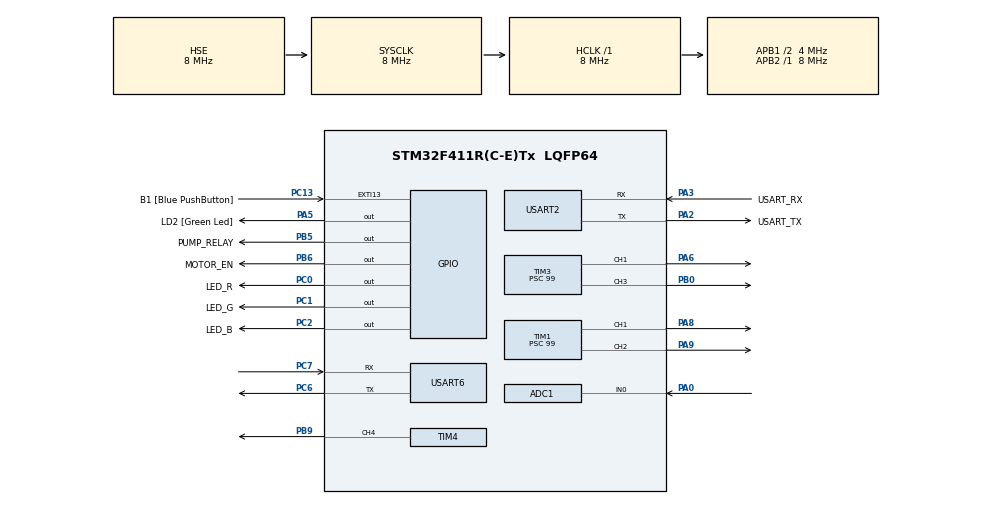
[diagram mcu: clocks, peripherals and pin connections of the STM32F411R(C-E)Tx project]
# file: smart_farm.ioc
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ADC1.Channel-0\#ChannelRegularConversion=ADC_CHANNEL_0
ADC1.ContinuousConvMode=ENABLE
ADC1.NbrOfConversionFlag=1
ADC1.Rank-0\#ChannelRegularConversion=1
ADC1.SamplingTime-0\#ChannelRegularConversion=ADC_SAMPLETIME_3CYCLES
ADC1.master=1
Dma.ADC1.0.Direction=DMA_PERIPH_TO_MEMORY
Dma.ADC1.0.FIFOMode=DMA_FIFOMODE_DISABLE
Dma.ADC1.0.Instance=DMA2_Stream0
Dma.ADC1.0.MemDataAlignment=DMA_MDATAALIGN_HALFWORD
Dma.ADC1.0.MemInc=DMA_MINC_ENABLE
Dma.ADC1.0.Mode=DMA_CIRCULAR
Dma.ADC1.0.PeriphDataAlignment=DMA_PDATAALIGN_HALFWORD
Dma.ADC1.0.PeriphInc=DMA_PINC_DISABLE
Dma.ADC1.0.Priority=DMA_PRIORITY_LOW
Dma.Request0=ADC1
FREERTOS.Queues01=xCommandQueue,16,uint8_t,0,Dynamic,NULL,NULL;xSensorQueue,16,uint8_t,0,Dynamic,NULL,NULL
FREERTOS.Tasks01=defaultTask,24,128,StartDefaultTask,Default,NULL,Dynamic,NULL,NULL;BT_Task,40,256,StartTask02,Default,NULL,Dynamic,NULL,NULL;Sensor_Task,24,128,StartTask03,Default,NULL,Dynamic,NULL,NULL;Actuator_Task,8,256,StartTask04,Default,NULL,Dynamic,NULL,NULL
Mcu.Family=STM32F4
Mcu.Name=STM32F411R(C-E)Tx
Mcu.Package=LQFP64
NVIC.DMA2_Stream0_IRQn=true\:5\:0\:false\:false\:true\:true\:false\:true\:true
NVIC.PriorityGroup=NVIC_PRIORITYGROUP_4
NVIC.USART6_IRQn=true\:5\:0\:false\:false\:true\:true\:true\:true\:true
PA0-WKUP.Signal=ADCx_IN0
PA13.GPIO_Label=TMS
PA13.Mode=Serial_Wire
PA13.Signal=SYS_JTMS-SWDIO
PA14.GPIO_Label=TCK
PA14.Mode=Serial_Wire
PA14.Signal=SYS_JTCK-SWCLK
PA2.GPIO_Label=USART_TX
PA2.Mode=Asynchronous
PA2.Signal=USART2_TX
PA3.GPIO_Label=USART_RX
PA3.Mode=Asynchronous
PA3.Signal=USART2_RX
PA5.GPIO_Label=LD2 [Green Led]
PA5.Signal=GPIO_Output
PA6.Signal=S_TIM3_CH1
PA8.Signal=S_TIM1_CH1
PA9.Signal=S_TIM1_CH2
PB0.Signal=S_TIM3_CH3
PB3.GPIO_Label=SWO
PB3.Signal=SYS_JTDO-SWO
PB5.GPIO_Label=PUMP_RELAY
PB5.Signal=GPIO_Output
PB6.GPIO_Label=MOTOR_EN
PB6.Signal=GPIO_Output
PB9.Signal=S_TIM4_CH4
PC0.GPIO_Label=LED_R
PC0.Signal=GPIO_Output
PC1.GPIO_Label=LED_G
PC1.Signal=GPIO_Output
PC13-ANTI_TAMP.GPIO_Label=B1 [Blue PushButton]
PC13-ANTI_TAMP.GPIO_ModeDefaultEXTI=GPIO_MODE_IT_FALLING
PC13-ANTI_TAMP.Signal=GPXTI13
PC14-OSC32_IN.Mode=LSE-External-Oscillator
PC14-OSC32_IN.Signal=RCC_OSC32_IN
PC15-OSC32_OUT.Mode=LSE-External-Oscillator
PC15-OSC32_OUT.Signal=RCC_OSC32_OUT
PC2.GPIO_Label=LED_B
PC2.Signal=GPIO_Output
PC6.Mode=Asynchronous
PC6.Signal=USART6_TX
PC7.Mode=Asynchronous
PC7.Signal=USART6_RX
PH0\ -\ OSC_IN.Mode=HSE-External-Oscillator
PH0\ -\ OSC_IN.Signal=RCC_OSC_IN
PH1\ -\ OSC_OUT.Mode=HSE-External-Oscillator
PH1\ -\ OSC_OUT.Signal=RCC_OSC_OUT
ProjectManager.HeapSize=0x200
ProjectManager.StackSize=0x400
ProjectManager.TargetToolchain=STM32CubeIDE
RCC.48MHZClocksFreq_Value=25000000
RCC.AHBFreq_Value=8000000
RCC.APB1CLKDivider=RCC_HCLK_DIV2
RCC.APB1Freq_Value=4000000
RCC.APB1TimFreq_Value=8000000
RCC.APB2Freq_Value=8000000
RCC.APB2TimFreq_Value=8000000
RCC.CortexFreq_Value=8000000
RCC.FLatency-AdvancedSettings=FLASH_LATENCY_0
RCC.HCLKFreq_Value=8000000
RCC.HSE_VALUE=8000000
RCC.HSI_VALUE=16000000
RCC.PLLM=8
RCC.PLLN=100
RCC.PLLSourceVirtual=RCC_PLLSOURCE_HSE
RCC.SYSCLKFreq_VALUE=8000000
RCC.SYSCLKSource=RCC_SYSCLKSOURCE_HSE
RCC.VCOOutputFreq_Value=100000000
SH.ADCx_IN0.0=ADC1_IN0,IN0
SH.S_TIM1_CH1.0=TIM1_CH1,PWM Generation1 CH1
SH.S_TIM1_CH2.0=TIM1_CH2,PWM Generation2 CH2
SH.S_TIM3_CH1.0=TIM3_CH1,PWM Generation1 CH1
SH.S_TIM3_CH3.0=TIM3_CH3,PWM Generation3 CH3
SH.S_TIM4_CH4.0=TIM4_CH4,PWM Generation4 CH4
TIM1.Channel-PWM\ Generation1\ CH1=TIM_CHANNEL_1
TIM1.Channel-PWM\ Generation2\ CH2=TIM_CHANNEL_2
TIM1.Prescaler=99
TIM3.Channel-PWM\ Generation1\ CH1=TIM_CHANNEL_1
TIM3.Channel-PWM\ Generation3\ CH3=TIM_CHANNEL_3
TIM3.Period=999
TIM3.Prescaler=99
TIM4.Channel-PWM\ Generation4\ CH4=TIM_CHANNEL_4
TIM4.Period=999
TIM4.Prescaler=99
USART2.VirtualMode=VM_ASYNC
USART6.VirtualMode=VM_ASYNC
VP_FREERTOS_VS_CMSIS_V2.Mode=CMSIS_V2
VP_TIM1_VS_ClockSourceINT.Mode=Internal
VP_TIM4_VS_ClockSourceINT.Mode=Internal
board=NUCLEO-F411RE

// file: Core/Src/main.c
/* USER CODE BEGIN Header */
/**
  ******************************************************************************
  * @file           : main.c
  * @brief          : Main program body
  ******************************************************************************
  */
/* USER CODE END Header */
#include "main.h"
#include "cmsis_os.h"

/* USER CODE BEGIN Includes */
#include <string.h>
#include <stdio.h>
/* USER CODE END Includes */

ADC_HandleTypeDef hadc1;
DMA_HandleTypeDef hdma_adc1;

TIM_HandleTypeDef htim1;
TIM_HandleTypeDef htim3;
TIM_HandleTypeDef htim4;

UART_HandleTypeDef huart2;
UART_HandleTypeDef huart6;

/* Definitions for defaultTask */
osThreadId_t defaultTaskHandle;
const osThreadAttr_t defaultTask_attributes = {
  .name = "defaultTask",
  .stack_size = 128 * 4,
  .priority = (osPriority_t) osPriorityNormal,
};
/* Definitions for BT_Task */
osThreadId_t BT_TaskHandle;
const osThreadAttr_t BT_Task_attributes = {
  .name = "BT_Task",
  .stack_size = 256 * 4,
  .priority = (osPriority_t) osPriorityHigh,
};
/* Definitions for Sensor_Task */
osThreadId_t Sensor_TaskHandle;
const osThreadAttr_t Sensor_Task_attributes = {
  .name = "Sensor_Task",
  .stack_size = 128 * 4,
  .priority = (osPriority_t) osPriorityNormal,
};
/* Definitions for Actuator_Task */
osThreadId_t Actuator_TaskHandle;
const osThreadAttr_t Actuator_Task_attributes = {
  .name = "Actuator_Task",
  .stack_size = 256 * 4,
  .priority = (osPriority_t) osPriorityLow,
};
/* Definitions for xCommandQueue */
osMessageQueueId_t xCommandQueueHandle;
const osMessageQueueAttr_t xCommandQueue_attributes = {
  .name = "xCommandQueue"
};
/* Definitions for xSensorQueue */
osMessageQueueId_t xSensorQueueHandle;
const osMessageQueueAttr_t xSensorQueue_attributes = {
  .name = "xSensorQueue"
};
/* USER CODE BEGIN PV */
static uint8_t          bt_rx_byte;
static uint8_t          bt_buf[128];
static uint8_t          bt_proc_buf[128]; /* 처리용 별도 버퍼 */
static uint16_t         bt_len   = 0;
static volatile uint8_t bt_ready = 0;

/* 액추에이터 상태 전역 (led_str 배열 전역으로) */
static const char *led_str[4] = {"OFF","R","G","B"};
/* USER CODE END PV */

void SystemClock_Config(void);
static void MX_GPIO_Init(void);
static void MX_DMA_Init(void);
static void MX_ADC1_Init(void);
static void MX_USART2_UART_Init(void);
static void MX_USART6_UART_Init(void);
static void MX_TIM1_Init(void);
static void MX_TIM4_Init(void);
static void MX_TIM3_Init(void);
void StartDefaultTask(void *argument);
void StartTask02(void *argument);
void StartTask03(void *argument);
void StartTask04(void *argument);

/* USER CODE BEGIN 0 */

/* 디버그 출력 (USART2 → ST-Link → PC) */
static void dbg(const char *msg)
{
    HAL_UART_Transmit(&huart2, (uint8_t*)msg, strlen(msg), 100);
}

/* USART6 인터럽트 콜백 — HC-06 BT 수신 */
void HAL_UART_RxCpltCallback(UART_HandleTypeDef *huart)
{
    if (huart->Instance != USART6) return;

    if (bt_rx_byte == '\n' || bt_len >= 126) {
        bt_buf[bt_len] = '\0';
        bt_len   = 0;
        bt_ready = 1;   /* 수신 완료 플래그 */
    } else if (bt_rx_byte != '\r') {
        bt_buf[bt_len++] = bt_rx_byte;
    }
    HAL_UART_Receive_IT(&huart6, &bt_rx_byte, 1);
}

/* USER CODE END 0 */

int main(void)
{

  /* MCU Configuration--------------------------------------------------------*/

  /* Reset of all peripherals, Initializes the Flash interface and the Systick. */
  HAL_Init();

  /* Configure the system clock */
  SystemClock_Config();

  /* Initialize all configured peripherals */
  MX_GPIO_Init();
  MX_DMA_Init();
  MX_ADC1_Init();
  MX_USART2_UART_Init();
  MX_USART6_UART_Init();
  MX_TIM1_Init();
  MX_TIM4_Init();
  MX_TIM3_Init();
  /* USER CODE BEGIN 2 */

  /* PWM 시작 */
  HAL_TIM_PWM_Start(&htim1, TIM_CHANNEL_1);
  HAL_TIM_PWM_Start(&htim1, TIM_CHANNEL_2);
  HAL_TIM_PWM_Start(&htim3, TIM_CHANNEL_1);
  HAL_TIM_PWM_Start(&htim4, TIM_CHANNEL_4);
  HAL_TIM_PWM_Start(&htim3, TIM_CHANNEL_3);

  /* TIM1 Advanced Timer MOE 활성화 — 없으면 PWM 출력 안 됨 */
  __HAL_TIM_MOE_ENABLE(&htim1);

  /* USART6 인터럽트 우선순위 (FreeRTOS 범위 내: 5~15) */
//  HAL_NVIC_SetPriority(USART6_IRQn, 5, 0);
//  HAL_NVIC_EnableIRQ(USART6_IRQn);

  /* 초기 LED: 초록 (정상) */
  HAL_GPIO_WritePin(GPIOC, LED_R_Pin|LED_B_Pin, GPIO_PIN_RESET);
  HAL_GPIO_WritePin(GPIOC, LED_G_Pin,           GPIO_PIN_SET);

  /* HC-06 BT 수신 인터럽트 시작 */
  HAL_UART_Receive_IT(&huart6, &bt_rx_byte, 1);

  dbg("=== SmartFarm STM32 Start ===\r\n");

  /* USER CODE END 2 */

  /* Init scheduler */
  osKernelInitialize();

  /* Create the queue(s) */
  /* creation of xCommandQueue */
  xCommandQueueHandle = osMessageQueueNew (16, sizeof(uint8_t), &xCommandQueue_attributes);

  /* creation of xSensorQueue */
  xSensorQueueHandle = osMessageQueueNew (16, sizeof(uint8_t), &xSensorQueue_attributes);

  /* Create the thread(s) */
  /* creation of defaultTask */
  defaultTaskHandle = osThreadNew(StartDefaultTask, NULL, &defaultTask_attributes);

  /* creation of BT_Task */
  BT_TaskHandle = osThreadNew(StartTask02, NULL, &BT_Task_attributes);

  /* creation of Sensor_Task */
  Sensor_TaskHandle = osThreadNew(StartTask03, NULL, &Sensor_Task_attributes);

  /* creation of Actuator_Task */
  Actuator_TaskHandle = osThreadNew(StartTask04, NULL, &Actuator_Task_attributes);

  /* Start scheduler */
  osKernelStart();

  /* We should never get here as control is now taken by the scheduler */

  /* Infinite loop */
  while (1)
  {

  }
}

void SystemClock_Config(void)
{
  RCC_OscInitTypeDef RCC_OscInitStruct = {0};
  RCC_ClkInitTypeDef RCC_ClkInitStruct = {0};

  /** Configure the main internal regulator output voltage
  */
  __HAL_RCC_PWR_CLK_ENABLE();
  __HAL_PWR_VOLTAGESCALING_CONFIG(PWR_REGULATOR_VOLTAGE_SCALE1);

  /** Initializes the RCC Oscillators according to the specified parameters
  * in the RCC_OscInitTypeDef structure.
  */
  RCC_OscInitStruct.OscillatorType = RCC_OSCILLATORTYPE_HSE;
  RCC_OscInitStruct.HSEState = RCC_HSE_ON;
  RCC_OscInitStruct.PLL.PLLState = RCC_PLL_NONE;
  if (HAL_RCC_OscConfig(&RCC_OscInitStruct) != HAL_OK)
  {
    Error_Handler();
  }

  /** Initializes the CPU, AHB and APB buses clocks
  */
  RCC_ClkInitStruct.ClockType = RCC_CLOCKTYPE_HCLK|RCC_CLOCKTYPE_SYSCLK
                              |RCC_CLOCKTYPE_PCLK1|RCC_CLOCKTYPE_PCLK2;
  RCC_ClkInitStruct.SYSCLKSource = RCC_SYSCLKSOURCE_HSE;
  RCC_ClkInitStruct.AHBCLKDivider = RCC_SYSCLK_DIV1;
  RCC_ClkInitStruct.APB1CLKDivider = RCC_HCLK_DIV2;
  RCC_ClkInitStruct.APB2CLKDivider = RCC_HCLK_DIV1;

  if (HAL_RCC_ClockConfig(&RCC_ClkInitStruct, FLASH_LATENCY_0) != HAL_OK)
  {
    Error_Handler();
  }
}

static void MX_ADC1_Init(void)
{

  ADC_ChannelConfTypeDef sConfig = {0};

  /** Configure the global features of the ADC (Clock, Resolution, Data Alignment and number of conversion)
  */
  hadc1.Instance = ADC1;
  hadc1.Init.ClockPrescaler = ADC_CLOCK_SYNC_PCLK_DIV2;
  hadc1.Init.Resolution = ADC_RESOLUTION_12B;
  hadc1.Init.ScanConvMode = DISABLE;
  hadc1.Init.ContinuousConvMode = ENABLE;
  hadc1.Init.DiscontinuousConvMode = DISABLE;
  hadc1.Init.ExternalTrigConvEdge = ADC_EXTERNALTRIGCONVEDGE_NONE;
  hadc1.Init.ExternalTrigConv = ADC_SOFTWARE_START;
  hadc1.Init.DataAlign = ADC_DATAALIGN_RIGHT;
  hadc1.Init.NbrOfConversion = 1;
  hadc1.Init.DMAContinuousRequests = DISABLE;
  hadc1.Init.EOCSelection = ADC_EOC_SINGLE_CONV;
  if (HAL_ADC_Init(&hadc1) != HAL_OK)
  {
    Error_Handler();
  }

  /** Configure for the selected ADC regular channel its corresponding rank in the sequencer and its sample time.
  */
  sConfig.Channel = ADC_CHANNEL_0;
  sConfig.Rank = 1;
  sConfig.SamplingTime = ADC_SAMPLETIME_3CYCLES;
  if (HAL_ADC_ConfigChannel(&hadc1, &sConfig) != HAL_OK)
  {
    Error_Handler();
  }

}

static void MX_TIM1_Init(void)
{

  TIM_ClockConfigTypeDef sClockSourceConfig = {0};
  TIM_MasterConfigTypeDef sMasterConfig = {0};
  TIM_OC_InitTypeDef sConfigOC = {0};
  TIM_BreakDeadTimeConfigTypeDef sBreakDeadTimeConfig = {0};

  htim1.Instance = TIM1;
  htim1.Init.Prescaler = 99;
  htim1.Init.CounterMode = TIM_COUNTERMODE_UP;
  htim1.Init.Period = 65535;
  htim1.Init.ClockDivision = TIM_CLOCKDIVISION_DIV1;
  htim1.Init.RepetitionCounter = 0;
  htim1.Init.AutoReloadPreload = TIM_AUTORELOAD_PRELOAD_DISABLE;
  if (HAL_TIM_Base_Init(&htim1) != HAL_OK)
  {
    Error_Handler();
  }
  sClockSourceConfig.ClockSource = TIM_CLOCKSOURCE_INTERNAL;
  if (HAL_TIM_ConfigClockSource(&htim1, &sClockSourceConfig) != HAL_OK)
  {
    Error_Handler();
  }
  if (HAL_TIM_PWM_Init(&htim1) != HAL_OK)
  {
    Error_Handler();
  }
  sMasterConfig.MasterOutputTrigger = TIM_TRGO_RESET;
  sMasterConfig.MasterSlaveMode = TIM_MASTERSLAVEMODE_DISABLE;
  if (HAL_TIMEx_MasterConfigSynchronization(&htim1, &sMasterConfig) != HAL_OK)
  {
    Error_Handler();
  }
  sConfigOC.OCMode = TIM_OCMODE_PWM1;
  sConfigOC.Pulse = 0;
  sConfigOC.OCPolarity = TIM_OCPOLARITY_HIGH;
  sConfigOC.OCNPolarity = TIM_OCNPOLARITY_HIGH;
  sConfigOC.OCFastMode = TIM_OCFAST_DISABLE;
  sConfigOC.OCIdleState = TIM_OCIDLESTATE_RESET;
  sConfigOC.OCNIdleState = TIM_OCNIDLESTATE_RESET;
  if (HAL_TIM_PWM_ConfigChannel(&htim1, &sConfigOC, TIM_CHANNEL_1) != HAL_OK)
  {
    Error_Handler();
  }
  if (HAL_TIM_PWM_ConfigChannel(&htim1, &sConfigOC, TIM_CHANNEL_2) != HAL_OK)
  {
    Error_Handler();
  }
  sBreakDeadTimeConfig.OffStateRunMode = TIM_OSSR_DISABLE;
  sBreakDeadTimeConfig.OffStateIDLEMode = TIM_OSSI_DISABLE;
  sBreakDeadTimeConfig.LockLevel = TIM_LOCKLEVEL_OFF;
  sBreakDeadTimeConfig.DeadTime = 0;
  sBreakDeadTimeConfig.BreakState = TIM_BREAK_DISABLE;
  sBreakDeadTimeConfig.BreakPolarity = TIM_BREAKPOLARITY_HIGH;
  sBreakDeadTimeConfig.AutomaticOutput = TIM_AUTOMATICOUTPUT_DISABLE;
  if (HAL_TIMEx_ConfigBreakDeadTime(&htim1, &sBreakDeadTimeConfig) != HAL_OK)
  {
    Error_Handler();
  }
  HAL_TIM_MspPostInit(&htim1);

}

static void MX_TIM3_Init(void)
{

  TIM_MasterConfigTypeDef sMasterConfig = {0};
  TIM_OC_InitTypeDef sConfigOC = {0};

  htim3.Instance = TIM3;
  htim3.Init.Prescaler = 99;
  htim3.Init.CounterMode = TIM_COUNTERMODE_UP;
  htim3.Init.Period = 999;
  htim3.Init.ClockDivision = TIM_CLOCKDIVISION_DIV1;
  htim3.Init.AutoReloadPreload = TIM_AUTORELOAD_PRELOAD_DISABLE;
  if (HAL_TIM_PWM_Init(&htim3) != HAL_OK)
  {
    Error_Handler();
  }
  sMasterConfig.MasterOutputTrigger = TIM_TRGO_RESET;
  sMasterConfig.MasterSlaveMode = TIM_MASTERSLAVEMODE_DISABLE;
  if (HAL_TIMEx_MasterConfigSynchronization(&htim3, &sMasterConfig) != HAL_OK)
  {
    Error_Handler();
  }
  sConfigOC.OCMode = TIM_OCMODE_PWM1;
  sConfigOC.Pulse = 0;
  sConfigOC.OCPolarity = TIM_OCPOLARITY_HIGH;
  sConfigOC.OCFastMode = TIM_OCFAST_DISABLE;
  if (HAL_TIM_PWM_ConfigChannel(&htim3, &sConfigOC, TIM_CHANNEL_1) != HAL_OK)
  {
    Error_Handler();
  }
  if (HAL_TIM_PWM_ConfigChannel(&htim3, &sConfigOC, TIM_CHANNEL_3) != HAL_OK)
  {
    Error_Handler();
  }
  HAL_TIM_MspPostInit(&htim3);

}

static void MX_TIM4_Init(void)
{

  TIM_ClockConfigTypeDef sClockSourceConfig = {0};
  TIM_MasterConfigTypeDef sMasterConfig = {0};
  TIM_OC_InitTypeDef sConfigOC = {0};

  htim4.Instance = TIM4;
  htim4.Init.Prescaler = 99;
  htim4.Init.CounterMode = TIM_COUNTERMODE_UP;
  htim4.Init.Period = 999;
  htim4.Init.ClockDivision = TIM_CLOCKDIVISION_DIV1;
  htim4.Init.AutoReloadPreload = TIM_AUTORELOAD_PRELOAD_DISABLE;
  if (HAL_TIM_Base_Init(&htim4) != HAL_OK)
  {
    Error_Handler();
  }
  sClockSourceConfig.ClockSource = TIM_CLOCKSOURCE_INTERNAL;
  if (HAL_TIM_ConfigClockSource(&htim4, &sClockSourceConfig) != HAL_OK)
  {
    Error_Handler();
  }
  if (HAL_TIM_PWM_Init(&htim4) != HAL_OK)
  {
    Error_Handler();
  }
  sMasterConfig.MasterOutputTrigger = TIM_TRGO_RESET;
  sMasterConfig.MasterSlaveMode = TIM_MASTERSLAVEMODE_DISABLE;
  if (HAL_TIMEx_MasterConfigSynchronization(&htim4, &sMasterConfig) != HAL_OK)
  {
    Error_Handler();
  }
  sConfigOC.OCMode = TIM_OCMODE_PWM1;
  sConfigOC.Pulse = 0;
  sConfigOC.OCPolarity = TIM_OCPOLARITY_HIGH;
  sConfigOC.OCFastMode = TIM_OCFAST_DISABLE;
  if (HAL_TIM_PWM_ConfigChannel(&htim4, &sConfigOC, TIM_CHANNEL_4) != HAL_OK)
  {
    Error_Handler();
  }
  HAL_TIM_MspPostInit(&htim4);

}

static void MX_USART2_UART_Init(void)
{

  huart2.Instance = USART2;
  huart2.Init.BaudRate = 115200;
  huart2.Init.WordLength = UART_WORDLENGTH_8B;
  huart2.Init.StopBits = UART_STOPBITS_1;
  huart2.Init.Parity = UART_PARITY_NONE;
  huart2.Init.Mode = UART_MODE_TX_RX;
  huart2.Init.HwFlowCtl = UART_HWCONTROL_NONE;
  huart2.Init.OverSampling = UART_OVERSAMPLING_16;
  if (HAL_UART_Init(&huart2) != HAL_OK)
  {
    Error_Handler();
  }

}

static void MX_USART6_UART_Init(void)
{

  huart6.Instance = USART6;
  huart6.Init.BaudRate = 9600;
  huart6.Init.WordLength = UART_WORDLENGTH_8B;
  huart6.Init.StopBits = UART_STOPBITS_1;
  huart6.Init.Parity = UART_PARITY_NONE;
  huart6.Init.Mode = UART_MODE_TX_RX;
  huart6.Init.HwFlowCtl = UART_HWCONTROL_NONE;
  huart6.Init.OverSampling = UART_OVERSAMPLING_16;
  if (HAL_UART_Init(&huart6) != HAL_OK)
  {
    Error_Handler();
  }

}

static void MX_DMA_Init(void)
{

  /* DMA controller clock enable */
  __HAL_RCC_DMA2_CLK_ENABLE();

  /* DMA interrupt init */
  /* DMA2_Stream0_IRQn interrupt configuration */
  HAL_NVIC_SetPriority(DMA2_Stream0_IRQn, 5, 0);
  HAL_NVIC_EnableIRQ(DMA2_Stream0_IRQn);

}

static void MX_GPIO_Init(void)
{
  GPIO_InitTypeDef GPIO_InitStruct = {0};

  /* GPIO Ports Clock Enable */
  __HAL_RCC_GPIOC_CLK_ENABLE();
  __HAL_RCC_GPIOH_CLK_ENABLE();
  __HAL_RCC_GPIOA_CLK_ENABLE();
  __HAL_RCC_GPIOB_CLK_ENABLE();

  /*Configure GPIO pin Output Level */
  HAL_GPIO_WritePin(GPIOC, LED_R_Pin|LED_G_Pin|LED_B_Pin, GPIO_PIN_RESET);

  /*Configure GPIO pin Output Level */
  HAL_GPIO_WritePin(LD2_GPIO_Port, LD2_Pin, GPIO_PIN_RESET);

  /*Configure GPIO pin Output Level */
  HAL_GPIO_WritePin(GPIOB, PUMP_RELAY_Pin|MOTOR_EN_Pin, GPIO_PIN_RESET);

  /*Configure GPIO pin : B1_Pin */
  GPIO_InitStruct.Pin = B1_Pin;
  GPIO_InitStruct.Mode = GPIO_MODE_IT_FALLING;
  GPIO_InitStruct.Pull = GPIO_NOPULL;
  HAL_GPIO_Init(B1_GPIO_Port, &GPIO_InitStruct);

  /*Configure GPIO pins : LED_R_Pin LED_G_Pin LED_B_Pin */
  GPIO_InitStruct.Pin = LED_R_Pin|LED_G_Pin|LED_B_Pin;
  GPIO_InitStruct.Mode = GPIO_MODE_OUTPUT_PP;
  GPIO_InitStruct.Pull = GPIO_NOPULL;
  GPIO_InitStruct.Speed = GPIO_SPEED_FREQ_LOW;
  HAL_GPIO_Init(GPIOC, &GPIO_InitStruct);

  /*Configure GPIO pin : LD2_Pin */
  GPIO_InitStruct.Pin = LD2_Pin;
  GPIO_InitStruct.Mode = GPIO_MODE_OUTPUT_PP;
  GPIO_InitStruct.Pull = GPIO_NOPULL;
  GPIO_InitStruct.Speed = GPIO_SPEED_FREQ_LOW;
  HAL_GPIO_Init(LD2_GPIO_Port, &GPIO_InitStruct);

  /*Configure GPIO pins : PUMP_RELAY_Pin MOTOR_EN_Pin */
  GPIO_InitStruct.Pin = PUMP_RELAY_Pin|MOTOR_EN_Pin;
  GPIO_InitStruct.Mode = GPIO_MODE_OUTPUT_PP;
  GPIO_InitStruct.Pull = GPIO_NOPULL;
  GPIO_InitStruct.Speed = GPIO_SPEED_FREQ_LOW;
  HAL_GPIO_Init(GPIOB, &GPIO_InitStruct);

}

void StartDefaultTask(void *argument)
{
  for (;;)
  {
    osDelay(1);
  }
}

void StartTask02(void *argument)
{
  /* USER CODE BEGIN StartTask02 */
  char    *token;
  uint8_t  msg_type;

  for (;;)
  {
    /* ── 안전한 플래그 체크 ── */
    taskENTER_CRITICAL();
    uint8_t ready = bt_ready;
    if (ready) {
        memcpy(bt_proc_buf, bt_buf, sizeof(bt_buf));
        bt_ready = 0;
    }
    taskEXIT_CRITICAL();

    if (ready)
    {
      dbg("[BT RX] ");
      dbg((char*)bt_proc_buf);
      dbg("\r\n");

      /* 파이프(|)로 복수 명령 분리 */
      token = strtok((char*)bt_proc_buf, "|");
      while (token != NULL)
      {
        msg_type = 0;

        /* ★ strstr로 부분문자열 검색 — 형식 무관하게 동작 */
        if      (strstr(token, "MOTOR:ON"))   msg_type = 0x01;
        else if (strstr(token, "MOTOR:OFF"))  msg_type = 0x02;
        else if (strstr(token, "BUZZER:ON"))  msg_type = 0x03;
        else if (strstr(token, "BUZZER:OFF")) msg_type = 0x04;
        else if (strstr(token, "LED:OFF"))    msg_type = 0x08; /* OFF 먼저 */
        else if (strstr(token, "LED:R"))      msg_type = 0x05;
        else if (strstr(token, "LED:G"))      msg_type = 0x06;
        else if (strstr(token, "LED:B"))      msg_type = 0x07;
        else if (strstr(token, "PUMP:ON"))    msg_type = 0x09;
        else if (strstr(token, "PUMP:OFF"))   msg_type = 0x0A;
        else if (strstr(token, "STATUS"))     msg_type = 0x0B;
        else if (strstr(token, "LIGHT:HIGH")) msg_type = 0x0C;
        else if (strstr(token, "LIGHT:MID"))  msg_type = 0x0D;
        else if (strstr(token, "LIGHT:LOW"))  msg_type = 0x0E;

        if (msg_type)
          osMessageQueuePut(xCommandQueueHandle, &msg_type, 0, 0);

        token = strtok(NULL, "|");
      }
    }
    osDelay(10);
  }
  /* USER CODE END StartTask02 */
}

void StartTask03(void *argument)
{
  /* USER CODE BEGIN StartTask03 */
  uint16_t adc_val = 0;
  uint32_t pulse   = 0;
  uint8_t  spd_msg = 0;

  /* TIM3 CH1 PWM 시작 (LED 밝기용) */
  HAL_TIM_PWM_Start(&htim3, TIM_CHANNEL_1);
  HAL_TIM_PWM_Start(&htim3, TIM_CHANNEL_3);  /* CDS LED */

  for (;;)
  {
    HAL_ADC_Start(&hadc1);
    if (HAL_ADC_PollForConversion(&hadc1, 5) == HAL_OK)
    {
      adc_val = HAL_ADC_GetValue(&hadc1);
      //pulse   = (uint32_t)adc_val * 65535 / 4095;
      //__HAL_TIM_SET_COMPARE(&htim1, TIM_CHANNEL_1, pulse);

      /* LED 밝기 PWM (TIM3 CH1) — Period 999 기준 */
      uint32_t led_pulse = (uint32_t)adc_val * 999 / 4095;
      __HAL_TIM_SET_COMPARE(&htim3, TIM_CHANNEL_1, led_pulse);

      spd_msg = (uint8_t)(adc_val * 100 / 4095);
      /* 큐가 꽉 차면 버림 (non-blocking) */
      osMessageQueuePut(xSensorQueueHandle, &spd_msg, 0, 0);
    }
    HAL_ADC_Stop(&hadc1);
    osDelay(100);
  }
  /* USER CODE END StartTask03 */
}

void StartTask04(void *argument)
{
  /* USER CODE BEGIN StartTask04 */
  uint8_t cmd;
  uint8_t spd      = 0;
  char    status[128];
  char    dbg_buf[64];

  uint8_t motor_on  = 0;
  uint8_t pump_on   = 0;
  uint8_t buzzer_on = 0;
  uint8_t led_state = 2;   /* 초기: 초록 */

  for (;;)
  {
    if (osMessageQueueGet(xCommandQueueHandle, &cmd, NULL, 100) == osOK)
    {
      switch (cmd)
      {
        case 0x01: /* MOTOR ON */
          motor_on = 1;
          HAL_GPIO_WritePin(GPIOB, MOTOR_EN_Pin, GPIO_PIN_SET);
          __HAL_TIM_SET_COMPARE(&htim1, TIM_CHANNEL_1, 65535);
          dbg("[ACT] Motor ON\r\n");
          break;

        case 0x02: /* MOTOR OFF */
          motor_on = 0;
          HAL_GPIO_WritePin(GPIOB, MOTOR_EN_Pin, GPIO_PIN_RESET);
          __HAL_TIM_SET_COMPARE(&htim1, TIM_CHANNEL_1, 0);
          dbg("[ACT] Motor OFF\r\n");
          break;

        case 0x03: /* BUZZER ON */
          buzzer_on = 1;
          __HAL_TIM_SET_COMPARE(&htim4, TIM_CHANNEL_4, 500);
          dbg("[ACT] Buzzer ON\r\n");
          break;

        case 0x04: /* BUZZER OFF */
          buzzer_on = 0;
          __HAL_TIM_SET_COMPARE(&htim4, TIM_CHANNEL_4, 0);
          HAL_TIM_PWM_Stop(&htim4, TIM_CHANNEL_4);
          HAL_TIM_PWM_Start(&htim4, TIM_CHANNEL_4);
          dbg("[ACT] Buzzer OFF\r\n");
          break;

        case 0x05: /* LED R */
          led_state = 1;
          HAL_GPIO_WritePin(GPIOC, LED_R_Pin, GPIO_PIN_SET);
          HAL_GPIO_WritePin(GPIOC, LED_G_Pin|LED_B_Pin, GPIO_PIN_RESET);
          dbg("[ACT] LED R\r\n");
          break;

        case 0x06: /* LED G */
          led_state = 2;
          HAL_GPIO_WritePin(GPIOC, LED_G_Pin, GPIO_PIN_SET);
          HAL_GPIO_WritePin(GPIOC, LED_R_Pin|LED_B_Pin, GPIO_PIN_RESET);
          dbg("[ACT] LED G\r\n");
          break;

        case 0x07: /* LED B */
          led_state = 3;
          HAL_GPIO_WritePin(GPIOC, LED_B_Pin, GPIO_PIN_SET);
          HAL_GPIO_WritePin(GPIOC, LED_R_Pin|LED_G_Pin, GPIO_PIN_RESET);
          dbg("[ACT] LED B\r\n");
          break;

        case 0x08: /* LED OFF */
          led_state = 0;
          HAL_GPIO_WritePin(GPIOC,
              LED_R_Pin|LED_G_Pin|LED_B_Pin, GPIO_PIN_RESET);
          dbg("[ACT] LED OFF\r\n");
          break;

        case 0x09: /* PUMP ON */
          pump_on = 1;
          HAL_GPIO_WritePin(GPIOB, PUMP_RELAY_Pin, GPIO_PIN_SET);
          dbg("[ACT] Pump ON\r\n");
          break;

        case 0x0A: /* PUMP OFF */
          pump_on = 0;
          HAL_GPIO_WritePin(GPIOB, PUMP_RELAY_Pin, GPIO_PIN_RESET);
          dbg("[ACT] Pump OFF\r\n");
          break;

        case 0x0B: /* STATUS */
          dbg("[ACT] Status request\r\n");
          break;

        case 0x0C: /* LIGHT HIGH — CDS 높음 → LED 밝게 */
            __HAL_TIM_SET_COMPARE(&htim3, TIM_CHANNEL_3, 999);
            dbg("[ACT] CDS LED HIGH\r\n");
            break;

        case 0x0D: /* LIGHT MID */
            __HAL_TIM_SET_COMPARE(&htim3, TIM_CHANNEL_3, 500);
            dbg("[ACT] CDS LED MID\r\n");
            break;

        case 0x0E: /* LIGHT LOW — CDS 낮음 → LED 어둡게 */
            __HAL_TIM_SET_COMPARE(&htim3, TIM_CHANNEL_3, 100);
            dbg("[ACT] CDS LED LOW\r\n");
            break;

        default:
          snprintf(dbg_buf, sizeof(dbg_buf),
                   "[ACT] Unknown cmd: 0x%02X\r\n", cmd);
          dbg(dbg_buf);
          break;
      }

      /* 최신 속도값 가져오기 (없으면 이전값 유지) */
      uint8_t tmp_spd = 0;
      if (osMessageQueueGet(xSensorQueueHandle, &tmp_spd, NULL, 0) == osOK)
          spd = tmp_spd;

      /* 상태 라즈베리파이로 전송 */
      snprintf(status, sizeof(status),
               "STATUS:MOTOR:%s:SPD:%u:PUMP:%s:LED:%s:BUZZ:%s\n",
               motor_on  ? "ON"  : "OFF",
               spd,
               pump_on   ? "ON"  : "OFF",
               led_str[led_state & 3],
               buzzer_on ? "ON"  : "OFF");
      HAL_UART_Transmit(&huart6, (uint8_t*)status, strlen(status), 200);
      dbg("[STATUS] "); dbg(status);
    }
  }
  /* USER CODE END StartTask04 */
}

void Error_Handler(void)
{
  __disable_irq();
  while (1) {}
}
